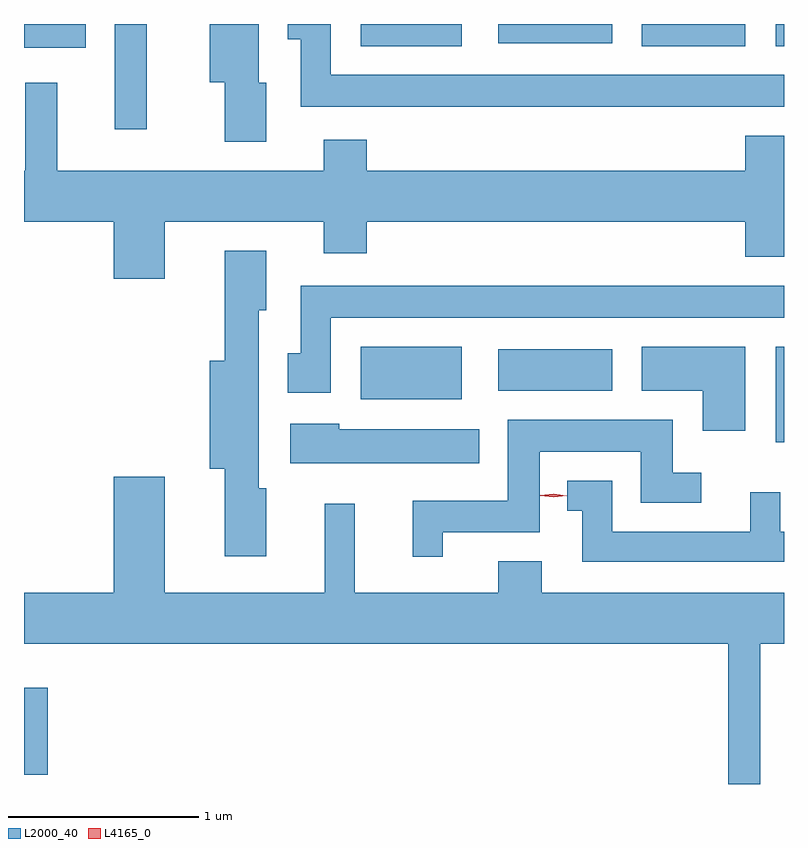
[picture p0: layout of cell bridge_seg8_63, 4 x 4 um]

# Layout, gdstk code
import gdstk
lib = gdstk.Library(unit=1e-6, precision=1e-09)
def R(c, l, rs):  # rectangles x0, y0, x1, y1
    for r in rs: c.add(gdstk.rectangle(r[:2], r[2:], *l))
def P(c, l, *ps):  # polygons
    for p in ps: c.add(gdstk.Polygon(p, *l))
L2000_40 = (2000, 40)
L4165_0 = (4165, 0)

bridge_seg8_63 = lib.new_cell('bridge_seg8_63')
R(bridge_seg8_63, L2000_40, [(1473.344,1908.986,1473.469,1909.444), (1477.301,1910.736,1477.344,1911.239), (1475.116,1910.961,1475.649,1911.239), (1475.841,1911.006,1476.439,1911.224), (1473.821,1912.383,1473.989,1912.937), (1473.344,1912.811,1473.669,1912.937), (1475.116,1912.821,1475.649,1912.937), (1476.596,1912.821,1477.139,1912.937), (1477.301,1912.821,1477.344,1912.937), (1475.841,1912.836,1476.439,1912.937)])
P(bridge_seg8_63, L2000_40, [(1474.619,1912.629),(1474.579,1912.629),(1474.579,1912.937),(1474.321,1912.937),(1474.321,1912.631),(1474.401,1912.631),(1474.401,1912.316),(1474.619,1912.316)],
  [(1477.344,1912.669),(1474.959,1912.669),(1474.959,1912.937),(1474.731,1912.937),(1474.731,1912.856),(1474.801,1912.856),(1474.801,1912.501),(1477.344,1912.501)],
  [(1474.084,1911.896),(1474.921,1911.896),(1474.921,1911.731),(1475.149,1911.731),(1475.149,1911.896),(1477.141,1911.896),(1477.141,1911.711),(1477.344,1911.711),(1477.344,1912.349),(1477.141,1912.349),(1477.141,1912.164),(1475.149,1912.164),(1475.149,1912.329),(1474.921,1912.329),(1474.921,1912.164),(1473.519,1912.164),(1473.519,1912.628),(1473.351,1912.628),(1473.351,1912.164),(1473.344,1912.164),(1473.344,1911.896),(1473.816,1911.896),(1473.816,1911.596),(1474.084,1911.596)],
  [(1474.619,1910.494),(1474.579,1910.494),(1474.579,1911.431),(1474.619,1911.431),(1474.619,1911.744),(1474.401,1911.744),(1474.401,1911.164),(1474.321,1911.164),(1474.321,1910.596),(1474.401,1910.596),(1474.401,1910.136),(1474.619,1910.136)],
  [(1474.959,1911.391),(1477.344,1911.391),(1477.344,1911.559),(1474.801,1911.559),(1474.801,1911.204),(1474.731,1911.204),(1474.731,1910.996),(1474.959,1910.996)],
  [(1477.139,1911.239),(1476.596,1911.239),(1476.596,1911.006),(1476.916,1911.006),(1476.916,1910.796),(1477.139,1910.796)],
  [(1475.549,1910.261),(1476.059,1910.261),(1476.059,1910.686),(1476.591,1910.686),(1476.591,1910.416),(1476.908,1910.416),(1476.908,1910.574),(1476.759,1910.574),(1476.759,1910.854),(1475.891,1910.854),(1475.891,1910.429),(1475.391,1910.429),(1475.391,1910.133),(1475.549,1910.133)],
  [(1475.739,1910.804),(1475.004,1910.804),(1475.004,1910.834),(1474.746,1910.834),(1474.746,1910.626),(1475.739,1910.626)],
  [(1477.219,1909.676),(1477.344,1909.676),(1477.344,1909.944),(1476.069,1909.944),(1476.069,1910.109),(1475.841,1910.109),(1475.841,1909.944),(1475.084,1909.944),(1475.084,1910.413),(1474.926,1910.413),(1474.926,1909.944),(1474.084,1909.944),(1474.084,1910.554),(1473.816,1910.554),(1473.816,1909.944),(1473.344,1909.944),(1473.344,1909.676),(1477.051,1909.676),(1477.051,1908.937),(1477.219,1908.937)],
  [(1477.344,1910.264),(1477.324,1910.264),(1477.324,1910.473),(1477.166,1910.473),(1477.166,1910.264),(1476.439,1910.264),(1476.439,1910.534),(1476.203,1910.534),(1476.203,1910.376),(1476.281,1910.376),(1476.281,1910.106),(1477.344,1910.106)])
P(bridge_seg8_63, L4165_0, [(1476.131,1910.445),(1476.062,1910.455),(1476.062,1910.455),(1476.062,1910.456),(1476.131,1910.465),(1476.201,1910.455),(1476.201,1910.455),(1476.201,1910.454)])

lib.write_gds('bridge_seg8_63.gds')
